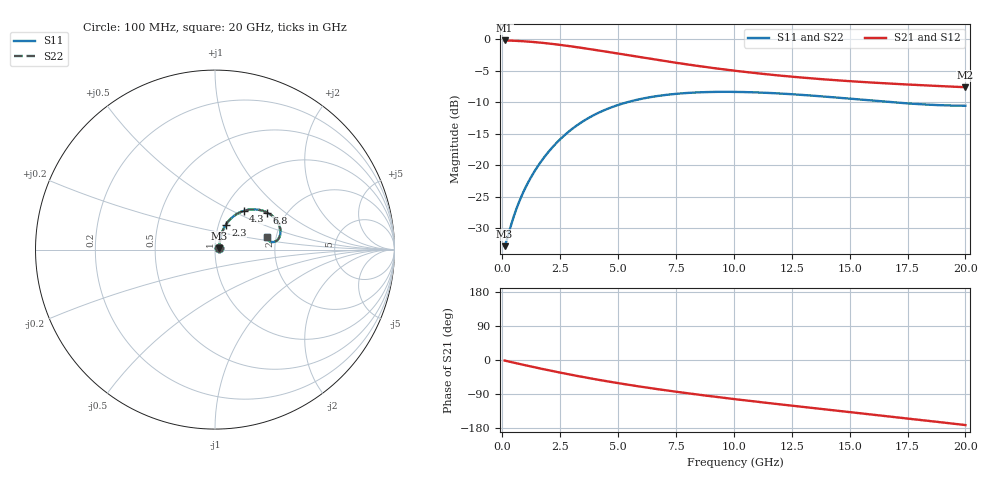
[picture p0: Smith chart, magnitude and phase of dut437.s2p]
! Touchstone file exported from HFSS 2024.1.0
!  File:  C:/UserFiles/LocalFiles/RDL_TSV_Batchsim/temp_RDL_TSV_437_1779721397.aedt
!  Generated:  11:21:09 PM May 25, 2026
!  Design:  RDL_TSV
!  Project:  temp_RDL_TSV_437_1779721397
!  Setup:  Setup1
!  Solution:  Sweep
! Variables:
!  dtsv = 6.33um
!  hbump = 3um
!  htsv = 57.99um
!  ldown = 604.03um
!  lrdl = 197.36um
!  p = 40
!  p1 = 46.02um
!  rhole = 10um
!  subl = 2601.53um
!  t = 450um
!  tdown = 2.25um
!  trdl = 4.51um
!  viad = 10um
!  wdown = 15.87um
!  wrdl = 19.86um
!  xbump = 18um
# GHz S MA R 50.000000
! Terminal data exported
! Port[1] = TM1_1_T1
! Port[2] = TM1_4_T1
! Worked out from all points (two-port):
!   200 points, 100 MHz to 20 GHz, reference 50 ohm
!   highest |S21| = -0.19 dB at 100 MHz (marker M1); lowest = -7.6 dB at 20 GHz (marker M2)
!   |S21| within 3 dB of the highest: start of sweep to 6.547 GHz
!   lowest |S11| = -32.8 dB at 100 MHz (marker M3), VSWR 1.05, Z = 52.2 + j0.675 ohm
!   |S11| at or under -10 dB: start of sweep to 5.394 GHz; 16.83 GHz to end of sweep
!   |S22| runs from -32.8 to -8.3 dB; largest |S21 - S12| = 9.2e-15
!   S11 on the Smith chart (normalised r, x): 100 MHz: 1.04, +0.01; 2.3 GHz: 1.08, +0.30; 4.3 GHz: 1.23, +0.57; 6.8 GHz: 1.60, +0.76; 20 GHz: 1.79, +0.26
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0.1  0.02278 16.5  0.9781 -1.4  0.9781 -1.4  0.02278 16.5
! Gamma 0 0 0 0
! Port Impedance 50 0 50 0
0.4  0.03449 46.1  0.9746 -5.7  0.9746 -5.7  0.03449 46.1
0.6  0.04454 54.8  0.971 -8.5  0.971 -8.5  0.04454 54.8
0.8  0.05518 60.0  0.9666 -11.2  0.9666 -11.2  0.05517 60.0
1  0.06632 63.4  0.9615 -13.9  0.9615 -13.9  0.06632 63.4
1.3  0.08391 66.3  0.9523 -17.9  0.9523 -17.9  0.08391 66.3
1.6  0.1024 67.5  0.9415 -21.9  0.9415 -21.9  0.1024 67.5
1.9  0.1216 67.6  0.9294 -25.8  0.9294 -25.8  0.1216 67.7
2.3  0.1477 66.7  0.9115 -30.8  0.9115 -30.8  0.1477 66.7
2.9  0.1868 63.6  0.882 -38.1  0.882 -38.1  0.1868 63.6
3.5  0.224 59.5  0.8504 -45.1  0.8504 -45.1  0.2241 59.6
4.3  0.2683 53.4  0.8071 -53.8  0.8071 -53.8  0.2684 53.5
5.4  0.3164 45.0  0.7487 -65.0  0.7487 -65.0  0.3166 45.1
6.8  0.3564 35.3  0.6809 -77.8  0.6809 -77.8  0.3566 35.4
8.4  0.3782 26.2  0.6156 -90.9  0.6156 -90.9  0.3785 26.2
10.1  0.3819 18.5  0.5608 -103.7  0.5608 -103.7  0.3823 18.6
11.7  0.3734 13.2  0.5209 -115.0  0.5209 -115.0  0.3738 13.2
13.4  0.3567 9.4  0.4884 -126.7  0.4884 -126.7  0.3571 9.4
15  0.3375 7.6  0.4648 -137.5  0.4648 -137.5  0.338 7.6
16.7  0.3176 7.7  0.4451 -149.0  0.4451 -149.0  0.3181 7.7
18.4  0.3025 9.8  0.4291 -160.6  0.4291 -160.6  0.303 9.8
20  0.2966 13.2  0.4161 -171.7  0.4161 -171.7  0.2971 13.2
